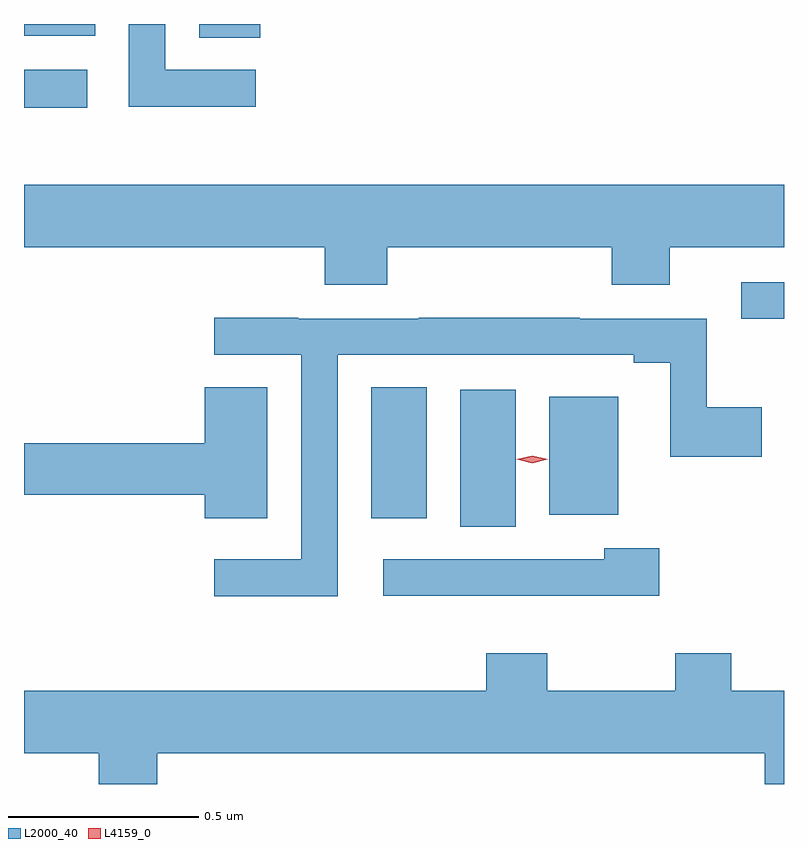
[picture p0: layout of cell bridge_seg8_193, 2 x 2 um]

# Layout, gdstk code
import gdstk
lib = gdstk.Library(unit=1e-6, precision=1e-09)
def R(c, l, rs):  # rectangles x0, y0, x1, y1
    for r in rs: c.add(gdstk.rectangle(r[:2], r[2:], *l))
def P(c, l, *ps):  # polygons
    for p in ps: c.add(gdstk.Polygon(p, *l))
L2000_40 = (2000, 40)
L4159_0 = (4159, 0)

bridge_seg8_193 = lib.new_cell('bridge_seg8_193')
R(bridge_seg8_193, L2000_40, [(256.148,1109.104,256.294,1109.464), (255.914,1109.127,256.06,1109.471), (256.382,1109.135,256.564,1109.446), (256.887,1109.652,257,1109.748), (255,1110.206,255.166,1110.307), (255.461,1110.391,255.622,1110.427), (255,1110.396,255.187,1110.427)])
P(bridge_seg8_193, L2000_40, [(255.61,1110.306),(255.372,1110.306),(255.372,1110.427),(255.276,1110.427),(255.276,1110.209),(255.61,1110.209)],
  [(255.956,1109.84),(256.547,1109.84),(256.547,1109.741),(256.699,1109.741),(256.699,1109.84),(257,1109.84),(257,1110.004),(255,1110.004),(255,1109.84),(255.791,1109.84),(255.791,1109.741),(255.956,1109.741)],
  [(255.825,1109.556),(256.604,1109.556),(256.604,1109.536),(256.7,1109.536),(256.7,1109.288),(256.942,1109.288),(256.942,1109.419),(256.797,1109.419),(256.797,1109.652),(256.463,1109.652),(256.463,1109.654),(256.039,1109.654),(256.039,1109.652),(255.722,1109.652),(255.722,1109.654),(255.501,1109.654),(255.501,1109.556),(255.729,1109.556),(255.729,1109.019),(255.501,1109.019),(255.501,1108.921),(255.825,1108.921)],
  [(255.64,1109.471),(255.476,1109.471),(255.476,1109.324),(255,1109.324),(255,1109.188),(255.476,1109.188),(255.476,1109.127),(255.64,1109.127)],
  [(256.672,1109.047),(256.527,1109.047),(256.527,1109.019),(255.945,1109.019),(255.945,1108.922),(256.672,1108.922)],
  [(255,1108.508),(255.197,1108.508),(255.197,1108.427),(255.35,1108.427),(255.35,1108.508),(256.949,1108.508),(256.949,1108.427),(257,1108.427),(257,1108.672),(256.861,1108.672),(256.861,1108.771),(256.714,1108.771),(256.714,1108.672),(256.377,1108.672),(256.377,1108.771),(256.217,1108.771),(256.217,1108.672),(255,1108.672)])
P(bridge_seg8_193, L4159_0, [(256.338,1109.271),(256.297,1109.281),(256.297,1109.281),(256.297,1109.281),(256.338,1109.291),(256.378,1109.281),(256.378,1109.281),(256.378,1109.281)])

lib.write_gds('bridge_seg8_193.gds')
